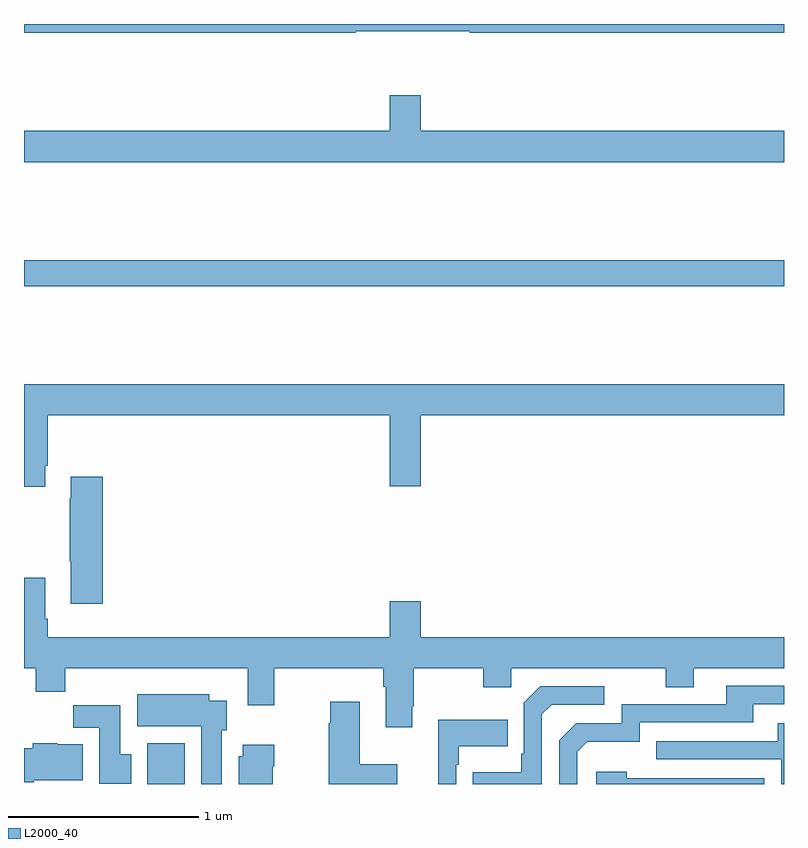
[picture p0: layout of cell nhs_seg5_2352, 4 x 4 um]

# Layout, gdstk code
import gdstk
lib = gdstk.Library(unit=1e-6, precision=1e-09)
def R(c, l, rs):  # rectangles x0, y0, x1, y1
    for r in rs: c.add(gdstk.rectangle(r[:2], r[2:], *l))
def P(c, l, *ps):  # polygons
    for p in ps: c.add(gdstk.Polygon(p, *l))
L2000_40 = (2000, 40)

nhs_seg5_2352 = lib.new_cell('nhs_seg5_2352')
R(nhs_seg5_2352, L2000_40, [(247.649,874.799,247.846,875.014), (247,877.42,251,877.556)])
P(nhs_seg5_2352, L2000_40, [(248.745,878.76),(249.345,878.76),(249.345,878.752),(251,878.752),(251,878.799),(247,878.799),(247,878.752),(248.745,878.752)],
  [(251,878.236),(249.088,878.236),(249.088,878.425),(248.924,878.425),(248.924,878.236),(247,878.236),(247,878.072),(251,878.072)],
  [(247.111,876.475),(247.124,876.475),(247.124,876.74),(248.924,876.74),(248.924,876.366),(249.088,876.366),(249.088,876.74),(251,876.74),(251,876.904),(247,876.904),(247,876.363),(247.111,876.363)],
  [(247.415,876.415),(247.247,876.415),(247.247,876.302),(247.24,876.302),(247.24,875.971),(247.247,875.971),(247.247,875.748),(247.415,875.748)],
  [(249.043,875.209),(249.051,875.209),(249.051,875.408),(249.418,875.408),(249.418,875.309),(249.564,875.309),(249.564,875.408),(250.378,875.408),(250.378,875.309),(250.525,875.309),(250.525,875.408),(251,875.408),(251,875.572),(249.088,875.572),(249.088,875.761),(248.924,875.761),(248.924,875.572),(247.124,875.572),(247.124,875.668),(247.111,875.668),(247.111,875.884),(247,875.884),(247,875.408),(247.061,875.408),(247.061,875.284),(247.217,875.284),(247.217,875.408),(248.177,875.408),(248.177,875.214),(248.317,875.214),(248.317,875.408),(248.891,875.408),(248.891,875.312),(248.903,875.312),(248.903,875.097),(249.043,875.097)],
  [(249.912,874.968),(249.965,875.021),(250.242,875.021),(250.242,875.124),(250.837,875.124),(250.837,875.22),(251,875.22),(251,875.316),(250.697,875.316),(250.697,875.22),(250.146,875.22),(250.146,875.118),(249.906,875.118),(249.816,875.028),(249.816,874.799),(249.912,874.799)],
  [(249.726,875.166),(249.777,875.217),(250.054,875.217),(250.054,875.313),(249.717,875.313),(249.63,875.226),(249.63,874.957),(249.618,874.957),(249.618,874.861),(249.361,874.861),(249.361,874.799),(249.726,874.799)],
  [(248.041,875.082),(248.068,875.082),(248.068,875.236),(247.975,875.236),(247.975,875.272),(247.595,875.272),(247.595,875.102),(247.934,875.102),(247.934,874.799),(248.041,874.799)],
  [(248.965,874.903),(248.767,874.903),(248.767,875.233),(248.612,875.233),(248.612,875.12),(248.605,875.12),(248.605,874.799),(248.965,874.799)],
  [(247.564,874.956),(247.507,874.956),(247.507,875.214),(247.258,875.214),(247.258,875.096),(247.397,875.096),(247.397,874.8),(247.564,874.8)],
  [(249.276,874.901),(249.289,874.901),(249.289,874.997),(249.545,874.997),(249.545,875.137),(249.179,875.137),(249.179,874.799),(249.276,874.799)],
  [(251,875.119),(250.967,875.119),(250.967,875.025),(250.327,875.025),(250.327,874.929),(250.986,874.929),(250.986,874.799),(251,874.799)],
  [(247.051,874.82),(247.309,874.82),(247.309,875.008),(247.176,875.008),(247.176,875.014),(247.046,875.014),(247.046,874.986),(247,874.986),(247,874.808),(247.051,874.808)],
  [(248.308,874.892),(248.316,874.892),(248.316,875.005),(248.15,875.005),(248.15,874.944),(248.129,874.944),(248.129,874.799),(248.308,874.799)],
  [(250.896,874.83),(250.172,874.83),(250.172,874.864),(250.011,874.864),(250.011,874.799),(250.896,874.799)])

lib.write_gds('nhs_seg5_2352.gds')
